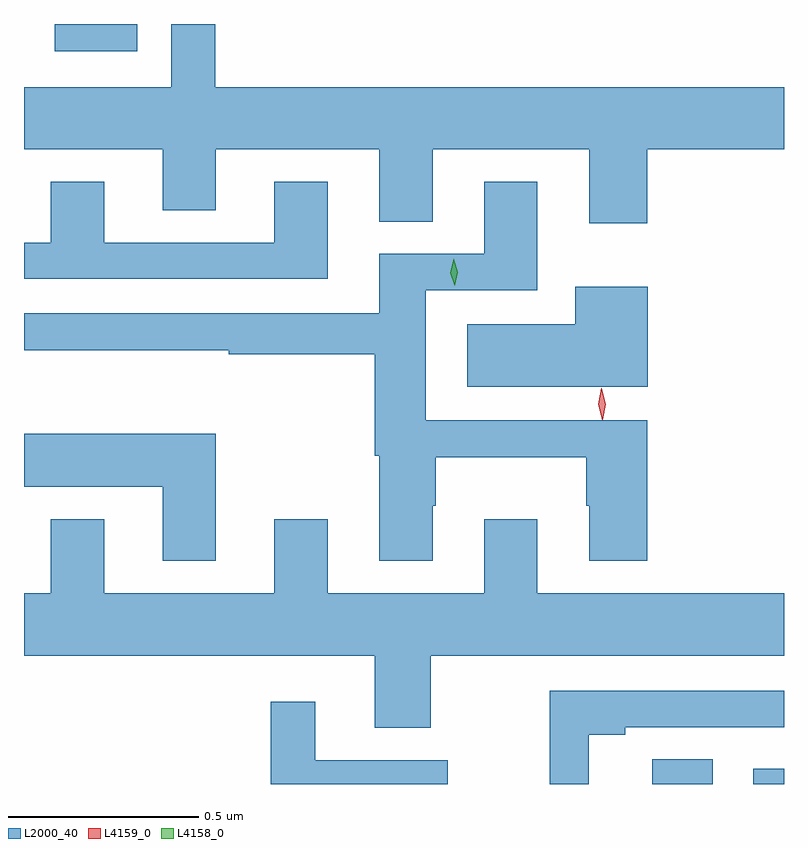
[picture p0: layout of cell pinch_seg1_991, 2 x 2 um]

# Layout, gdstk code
import gdstk
lib = gdstk.Library(unit=1e-6, precision=1e-09)
def R(c, l, rs):  # rectangles x0, y0, x1, y1
    for r in rs: c.add(gdstk.rectangle(r[:2], r[2:], *l))
def P(c, l, *ps):  # polygons
    for p in ps: c.add(gdstk.Polygon(p, *l))
L2000_40 = (2000, 40)
L4158_0 = (4158, 0)
L4159_0 = (4159, 0)

pinch_seg1_991 = lib.new_cell('pinch_seg1_991')
R(pinch_seg1_991, L2000_40, [(133.971,508.77,134.13,508.835), (134.237,508.77,134.318,508.81), (132.399,510.698,132.616,510.77)])
P(pinch_seg1_991, L2000_40, [(133.958,510.44),(134.318,510.44),(134.318,510.604),(132.821,510.604),(132.821,510.77),(132.705,510.77),(132.705,510.604),(132.318,510.604),(132.318,510.44),(132.683,510.44),(132.683,510.28),(132.823,510.28),(132.823,510.44),(133.253,510.44),(133.253,510.25),(133.393,510.25),(133.393,510.44),(133.805,510.44),(133.805,510.246),(133.958,510.246)],
  [(133.117,510.355),(132.977,510.355),(132.977,510.195),(132.529,510.195),(132.529,510.355),(132.389,510.355),(132.389,510.195),(132.318,510.195),(132.318,510.099),(133.117,510.099)],
  [(133.393,509.502),(133.401,509.502),(133.401,509.63),(133.798,509.63),(133.798,509.502),(133.805,509.502),(133.805,509.358),(133.958,509.358),(133.958,509.727),(133.375,509.727),(133.375,510.069),(133.669,510.069),(133.669,510.355),(133.529,510.355),(133.529,510.165),(133.253,510.165),(133.253,510.009),(132.318,510.009),(132.318,509.911),(132.857,509.911),(132.857,509.901),(133.241,509.901),(133.241,509.634),(133.253,509.634),(133.253,509.358),(133.393,509.358)],
  [(133.96,510.079),(133.769,510.079),(133.769,509.98),(133.485,509.98),(133.485,509.816),(133.96,509.816)],
  [(132.823,509.692),(132.318,509.692),(132.318,509.552),(132.683,509.552),(132.683,509.358),(132.823,509.358)],
  [(133.389,509.108),(134.318,509.108),(134.318,509.272),(133.669,509.272),(133.669,509.467),(133.529,509.467),(133.529,509.272),(133.117,509.272),(133.117,509.467),(132.977,509.467),(132.977,509.272),(132.529,509.272),(132.529,509.467),(132.389,509.467),(132.389,509.272),(132.318,509.272),(132.318,509.108),(133.241,509.108),(133.241,508.918),(133.389,508.918)],
  [(133.804,508.9),(133.9,508.9),(133.9,508.92),(134.318,508.92),(134.318,509.016),(133.702,509.016),(133.702,508.77),(133.804,508.77)],
  [(133.433,508.833),(133.084,508.833),(133.084,508.987),(132.967,508.987),(132.967,508.77),(133.433,508.77)])
P(pinch_seg1_991, L4158_0, [(133.451,510.081),(133.44,510.116),(133.449,510.152),(133.449,510.152),(133.449,510.152),(133.46,510.117),(133.452,510.081),(133.452,510.081)])
P(pinch_seg1_991, L4159_0, [(133.84,509.728),(133.84,509.729),(133.829,509.769),(133.837,509.811),(133.837,509.811),(133.838,509.811),(133.849,509.77),(133.841,509.729)])

lib.write_gds('pinch_seg1_991.gds')
